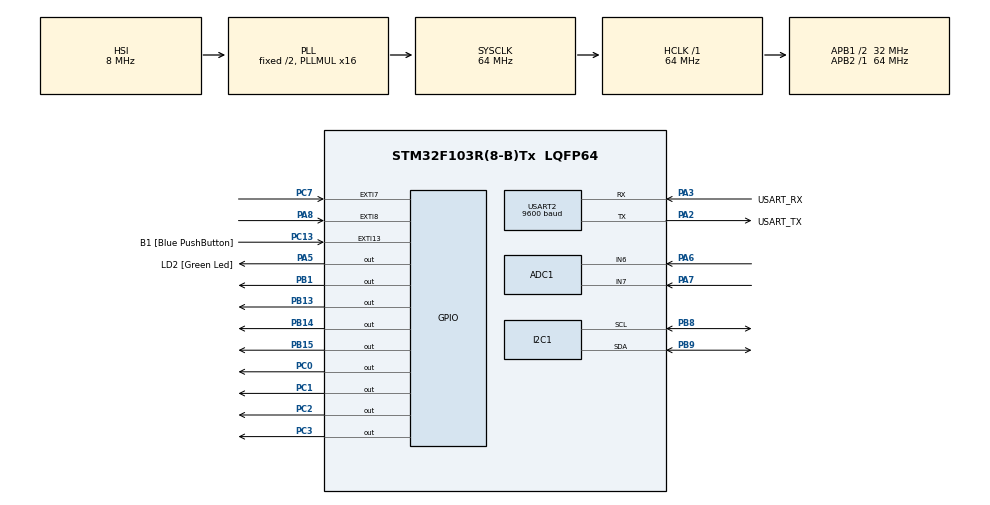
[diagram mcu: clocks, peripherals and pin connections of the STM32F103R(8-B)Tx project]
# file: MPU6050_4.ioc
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ADC1.Channel-0\#ChannelRegularConversion=ADC_CHANNEL_6
ADC1.Channel-1\#ChannelRegularConversion=ADC_CHANNEL_7
ADC1.ContinuousConvMode=ENABLE
ADC1.NbrOfConversion=2
ADC1.NbrOfConversionFlag=1
ADC1.Rank-0\#ChannelRegularConversion=1
ADC1.Rank-1\#ChannelRegularConversion=2
ADC1.SamplingTime-0\#ChannelRegularConversion=ADC_SAMPLETIME_28CYCLES_5
ADC1.SamplingTime-1\#ChannelRegularConversion=ADC_SAMPLETIME_28CYCLES_5
ADC1.master=1
Dma.ADC1.0.Direction=DMA_PERIPH_TO_MEMORY
Dma.ADC1.0.Instance=DMA1_Channel1
Dma.ADC1.0.MemDataAlignment=DMA_MDATAALIGN_WORD
Dma.ADC1.0.MemInc=DMA_MINC_ENABLE
Dma.ADC1.0.Mode=DMA_CIRCULAR
Dma.ADC1.0.PeriphDataAlignment=DMA_PDATAALIGN_WORD
Dma.ADC1.0.PeriphInc=DMA_PINC_DISABLE
Dma.ADC1.0.Priority=DMA_PRIORITY_LOW
Dma.Request0=ADC1
I2C1.I2C_Mode=I2C_Fast
Mcu.Family=STM32F1
Mcu.Name=STM32F103R(8-B)Tx
Mcu.Package=LQFP64
NVIC.ADC1_2_IRQn=true\:0\:0\:false\:false\:true\:true\:true\:true
NVIC.DMA1_Channel1_IRQn=true\:0\:0\:false\:false\:true\:false\:true\:true
NVIC.EXTI15_10_IRQn=true\:0\:0\:false\:false\:true\:true\:true\:true
NVIC.EXTI9_5_IRQn=true\:0\:0\:false\:false\:true\:true\:true\:true
NVIC.PriorityGroup=NVIC_PRIORITYGROUP_4
NVIC.TIM3_IRQn=true\:0\:0\:false\:false\:true\:true\:true\:true
PA13.GPIO_Label=TMS
PA13.Mode=Serial_Wire
PA13.Signal=SYS_JTMS-SWDIO
PA14.GPIO_Label=TCK
PA14.Mode=Serial_Wire
PA14.Signal=SYS_JTCK-SWCLK
PA2.GPIO_Label=USART_TX
PA2.GPIO_Mode=GPIO_MODE_AF_PP
PA2.GPIO_PuPd=GPIO_NOPULL
PA2.GPIO_Speed=GPIO_SPEED_FREQ_LOW
PA2.Mode=Asynchronous
PA2.Signal=USART2_TX
PA3.GPIO_Label=USART_RX
PA3.GPIO_Mode=GPIO_MODE_AF_PP
PA3.GPIO_PuPd=GPIO_NOPULL
PA3.GPIO_Speed=GPIO_SPEED_FREQ_LOW
PA3.Mode=Asynchronous
PA3.Signal=USART2_RX
PA5.GPIO_Label=LD2 [Green Led]
PA5.GPIO_ModeDefaultOutputPP=GPIO_MODE_OUTPUT_PP
PA5.GPIO_PuPd=GPIO_NOPULL
PA5.GPIO_Speed=GPIO_SPEED_FREQ_LOW
PA5.Signal=GPIO_Output
PA6.Signal=ADCx_IN6
PA7.Signal=ADCx_IN7
PA8.Signal=GPXTI8
PB1.Signal=GPIO_Output
PB13.Signal=GPIO_Output
PB14.Signal=GPIO_Output
PB15.Signal=GPIO_Output
PB3.GPIO_Label=SWO
PB3.Signal=SYS_JTDO-TRACESWO
PB8.Mode=I2C
PB8.Signal=I2C1_SCL
PB9.Mode=I2C
PB9.Signal=I2C1_SDA
PC0.Signal=GPIO_Output
PC1.Signal=GPIO_Output
PC13-TAMPER-RTC.GPIO_Label=B1 [Blue PushButton]
PC13-TAMPER-RTC.GPIO_ModeDefaultEXTI=GPIO_MODE_IT_RISING
PC13-TAMPER-RTC.GPIO_PuPd=GPIO_PULLUP
PC13-TAMPER-RTC.Signal=GPXTI13
PC14-OSC32_IN.Mode=LSE-External-Oscillator
PC14-OSC32_IN.Signal=RCC_OSC32_IN
PC15-OSC32_OUT.Mode=LSE-External-Oscillator
PC15-OSC32_OUT.Signal=RCC_OSC32_OUT
PC2.Signal=GPIO_Output
PC3.Signal=GPIO_Output
PC7.Signal=GPXTI7
PD0-OSC_IN.Mode=HSE-External-Clock-Source
PD0-OSC_IN.Signal=RCC_OSC_IN
PD1-OSC_OUT.Mode=HSE-External-Clock-Source
PD1-OSC_OUT.Signal=RCC_OSC_OUT
ProjectManager.HeapSize=0x200
ProjectManager.StackSize=0x400
ProjectManager.TargetToolchain=STM32CubeIDE
RCC.ADCPresc=RCC_ADCPCLK2_DIV8
RCC.AHBFreq_Value=64000000
RCC.APB1CLKDivider=RCC_HCLK_DIV2
RCC.APB1Freq_Value=32000000
RCC.APB1TimFreq_Value=64000000
RCC.APB2Freq_Value=64000000
RCC.APB2TimFreq_Value=64000000
RCC.HCLKFreq_Value=64000000
RCC.PLLMUL=RCC_PLL_MUL16
RCC.RTCClockSelection=RCC_RTCCLKSOURCE_LSE
RCC.SYSCLKFreq_VALUE=64000000
RCC.SYSCLKSource=RCC_SYSCLKSOURCE_PLLCLK
RCC.USBFreq_Value=64000000
SH.ADCx_IN6.0=ADC1_IN6,IN6
SH.ADCx_IN7.0=ADC1_IN7,IN7
TIM1.Period=65535-1
TIM1.Prescaler=63
TIM2.Prescaler=63999
TIM3.Period=10000-1
TIM3.Prescaler=64-1
USART2.BaudRate=9600
USART2.VirtualMode=VM_ASYNC
VP_TIM1_VS_ClockSourceINT.Mode=Internal
VP_TIM2_VS_ClockSourceINT.Mode=Internal
VP_TIM3_VS_ClockSourceINT.Mode=Internal
board=NUCLEO-F103RB

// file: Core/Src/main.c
/* USER CODE BEGIN Header */
/**
  ******************************************************************************
  * @file           : main.c
  * @brief          : Main program body
  ******************************************************************************
  * @attention
  *
  * Copyright (c) 2022 STMicroelectronics.
  * All rights reserved.
  *
  * This software is licensed under terms that can be found in the LICENSE file
  * in the root directory of this software component.
  * If no LICENSE file comes with this software, it is provided AS-IS.
  *
  ******************************************************************************
  */
/* USER CODE END Header */
#include "main.h"

/* USER CODE BEGIN Includes */
#include "stdio.h"
#include "Kalman.h"
#include "math.h"
#include "i2c-lcd.h"
/* USER CODE END Includes */

 ADC_HandleTypeDef hadc1;
DMA_HandleTypeDef hdma_adc1;

I2C_HandleTypeDef hi2c1;

TIM_HandleTypeDef htim1;
TIM_HandleTypeDef htim2;
TIM_HandleTypeDef htim3;

UART_HandleTypeDef huart2;

void SystemClock_Config(void);
static void MX_GPIO_Init(void);
static void MX_USART2_UART_Init(void);
static void MX_DMA_Init(void);
static void MX_ADC1_Init(void);
static void MX_I2C1_Init(void);
static void MX_TIM3_Init(void);
static void MX_TIM1_Init(void);
static void MX_TIM2_Init(void);
/* USER CODE BEGIN PFP */

#ifdef __GNUC__
#define PUTCHAR_PROTOTYPE int __io_putchar(int ch)
#else
#define PUTCHAR_PROTOTYPE int fputc(int ch, FILE *f)
#endif
PUTCHAR_PROTOTYPE
{
  HAL_UART_Transmit(&huart2, (uint8_t *)&ch, 1, 0xFFFF);
  return ch;
}

/* USER CODE END PFP */

/* USER CODE BEGIN 0 */
//=====================================================================================================================
//MPU6050 register value
#define MPU6050_ADDR 0xD0
#define SMPLRT_DIV_REG 0x19
#define GYRO_CONFIG_REG 0x1B
#define ACCEL_CONFIG_REG 0x1C
#define ACCEL_XOUT_H_REG 0x3B
#define TEMP_OUT_H_REG 0x41
#define GYRO_XOUT_H_REG 0x43
#define PWR_MGMT_1_REG 0x6B
#define WHO_AM_I_REG 0x75

#define RA_XA_OFFS_H        0x06 //[15:0] XA_OFFS
#define RA_XA_OFFS_L_TC     0x07
#define RA_YA_OFFS_H        0x08 //[15:0] YA_OFFS
#define RA_YA_OFFS_L_TC     0x09
#define RA_ZA_OFFS_H        0x0A //[15:0] ZA_OFFS
#define RA_ZA_OFFS_L_TC     0x0B
#define RA_XG_OFFS_USRH     0x13 //[15:0] XG_OFFS_USR
#define RA_XG_OFFS_USRL     0x14
#define RA_YG_OFFS_USRH     0x15 //[15:0] YG_OFFS_USR
#define RA_YG_OFFS_USRL     0x16
#define RA_ZG_OFFS_USRH     0x17 //[15:0] ZG_OFFS_USR
#define RA_ZG_OFFS_USRL     0x18
//=====================================================================================================================
//kalman Filter variable

#define RAD_TO_DEG 57.295779513082320876798154814105
#define DEG_TO_RAD 0.01745329251994329576923690768489
#define RESTRICT_PITCH

struct Kalman kalmanX, kalmanY, kalmanZ;
int accX, accY, accZ;
int gyroX, gyroY, gyroZ;
int magX, magY, magZ;
double roll, pitch, yaw;
double gyroXangle, gyroYangle, gyroZangle;
double compAngleX, compAngleY, compAngleZ;
double kalAngleX, kalAngleY, kalAngleZ;

void MPU6050_Init (void);
void updateMPU6050();
void  func(void);
void  updatePitchRoll(void);
void  updateYaw(void);
void  InitAll(void);
//=====================================================================================================================
//Time variable
uint32_t t_prev, t_now, time_count;
double t_period,t_dt;
int duration = 300;
int pre_time = 0, cur_time;

int read_us();
void init_time( );
void calc_time();
//=====================================================================================================================
//Step motor variable
#define StepPerRev 4096

uint32_t value[2];
int8_t cur_pitch_angle = 0;
int8_t pre_pitch_angle = 0;
int8_t cur_roll_angle = 0;
int8_t pre_roll_angle = 0;
int state = 0;

uint8_t step_count_pitch_L = 0;
uint8_t step_count_pitch_H = 0;
uint8_t step_count_roll_L = 0;
uint8_t step_count_roll_H = 0;

void stepper_step_angle (double angle, int direction,int rpm,GPIO_TypeDef  *GPIOx, uint16_t num1, uint16_t num2, uint16_t num3, uint16_t num4);
void stepper_half_drive(int step,GPIO_TypeDef  *GPIOx, uint16_t num1, uint16_t num2, uint16_t num3, uint16_t num4);
void delay(uint16_t us);
void Stepper_set_rpm(int rpm);
//=====================================================================================================================
// LCD
char joy_roll_value [30];
char joy_pitch_value [30];
char gyro_roll_value [30];
char gyro_pitch_value [30];
//=====================================================================================================================
//Get Gyro,Accel value

 void MPU6050_Init (void)
{
	uint8_t check;
	uint8_t Data;
	uint8_t offset;

	// check device ID WHO_AM_I

	HAL_I2C_Mem_Read (&hi2c1, MPU6050_ADDR,WHO_AM_I_REG,1, &check, 1, 1000);

	if (check == 104)  // 0x68 will be returned by the sensor if everything goes well
	{

		printf(" Connect Success\n ");
		// power management register 0X6B we should write all 0's to wake the sensor up
		Data = 0;
		HAL_I2C_Mem_Write(&hi2c1, MPU6050_ADDR, PWR_MGMT_1_REG, 1,&Data, 1, 1000);

		// Set DATA RATE of 1KHz by writing SMPLRT_DIV register
		Data = 0x07;
		HAL_I2C_Mem_Write(&hi2c1, MPU6050_ADDR, SMPLRT_DIV_REG, 1, &Data, 1, 1000);

		// Set accelerometer configuration in ACCEL_CONFIG Register
		// XA_ST=0,YA_ST=0,ZA_ST=0, FS_SEL=0 -> �????????????????????????? 2g
		Data = 0x00;
		HAL_I2C_Mem_Write(&hi2c1, MPU6050_ADDR, ACCEL_CONFIG_REG, 1, &Data, 1, 1000);

		// Set Gyroscopic configuration in GYRO_CONFIG Register
		// XG_ST=0,YG_ST=0,ZG_ST=0, FS_SEL=0 -> �????????????????????????? 250 �?????????????????????????/s
		Data = 0x00;
		HAL_I2C_Mem_Write(&hi2c1, MPU6050_ADDR, GYRO_CONFIG_REG, 1 , &Data, 1, 1000);

		offset = 0x02;
		HAL_I2C_Mem_Write(&hi2c1, MPU6050_ADDR, RA_XA_OFFS_H, 1, &offset, 1, 1000);
		offset = 0x32;
		HAL_I2C_Mem_Write(&hi2c1, MPU6050_ADDR, RA_XA_OFFS_L_TC, 1, &offset, 1, 1000);

		offset = 0XFB;
		HAL_I2C_Mem_Write(&hi2c1, MPU6050_ADDR, RA_YA_OFFS_H, 1, &offset, 1, 1000);
		offset = 0xC8;
		HAL_I2C_Mem_Write(&hi2c1, MPU6050_ADDR, RA_YA_OFFS_L_TC, 1, &offset, 1, 1000);

		offset = 0x08;
		HAL_I2C_Mem_Write(&hi2c1, MPU6050_ADDR, RA_ZA_OFFS_H, 1, &offset, 1, 1000);
		offset = 0xA1;
		HAL_I2C_Mem_Write(&hi2c1, MPU6050_ADDR, RA_ZA_OFFS_L_TC, 1, &offset, 1, 1000);

		offset = 0xFF;
		HAL_I2C_Mem_Write(&hi2c1, MPU6050_ADDR, RA_XG_OFFS_USRH, 1, &offset, 1, 1000);
		offset = 0x6B;
		HAL_I2C_Mem_Write(&hi2c1, MPU6050_ADDR, RA_XG_OFFS_USRL, 1, &offset, 1, 1000);

		offset = 0x01;
		HAL_I2C_Mem_Write(&hi2c1, MPU6050_ADDR, RA_YG_OFFS_USRH, 1, &offset, 1, 1000);
		offset = 0x19;
		HAL_I2C_Mem_Write(&hi2c1, MPU6050_ADDR, RA_YG_OFFS_USRL, 1, &offset, 1, 1000);

		offset = 0xFF;
		HAL_I2C_Mem_Write(&hi2c1, MPU6050_ADDR, RA_ZG_OFFS_USRH, 1, &offset, 1, 1000);
		offset = 0x00;
		HAL_I2C_Mem_Write(&hi2c1, MPU6050_ADDR, RA_ZG_OFFS_USRL, 1, &offset, 1, 1000);

	}else
	printf(" Connect Fail\n ");

}

 void InitAll()
 {
     /* Set Kalman and gyro starting angle */
     updateMPU6050();
     updatePitchRoll();

     setAngle(&kalmanX,roll); // First set roll starting angle
     gyroXangle = roll;
     compAngleX = roll;

     setAngle(&kalmanY,pitch); // Then pitch
     gyroYangle = pitch;
     compAngleY = pitch;

     setAngle(&kalmanZ,yaw); // And finally yaw
     gyroZangle = yaw;
     compAngleZ = yaw;

 }

void updateMPU6050()
 {
	uint8_t Rec_Data1[6];
	uint8_t Rec_Data2[6];

	HAL_I2C_Mem_Read (&hi2c1, MPU6050_ADDR, GYRO_XOUT_H_REG, 1, Rec_Data1, 6, 1000);

	gyroX = -(int16_t)(Rec_Data1[0] << 8 | Rec_Data1 [1]);
	gyroY = (int16_t)(Rec_Data1[2] << 8 | Rec_Data1 [3]);
	gyroZ = -(int16_t)(Rec_Data1[4] << 8 | Rec_Data1 [5]);

	HAL_I2C_Mem_Read (&hi2c1, MPU6050_ADDR, ACCEL_XOUT_H_REG, 1, Rec_Data2, 6, 1000);

	accX = (int16_t)(Rec_Data2[0] << 8 | Rec_Data2 [1]);
	accY = -(int16_t)(Rec_Data2[2] << 8 | Rec_Data2 [3]);
	accZ = (int16_t)(Rec_Data2[4] << 8 | Rec_Data2 [5]);

 }

void updatePitchRoll()
{

    #ifdef RESTRICT_PITCH
    roll = atan(accY/sqrt(accX*accX+accZ*accZ)) * RAD_TO_DEG;
    pitch = atan(-accX / sqrt(accY * accY + accZ * accZ)) * RAD_TO_DEG;

    #else // Eq. 28 and 29
    roll = atan(accY / sqrt(accX * accX + accZ * accZ)) * RAD_TO_DEG;
    pitch = atan2(-accX, accZ) * RAD_TO_DEG;
    #endif
}
//=====================================================================================================================
//Step motor
void Stepper_set_rpm(int rpm)
{
	delay(60000000/StepPerRev/rpm);
}

void stepper_half_drive(int step, GPIO_TypeDef  *GPIOx, uint16_t num1, uint16_t num2, uint16_t num3, uint16_t num4)
{
	switch(step){
	case 0:
		HAL_GPIO_WritePin(GPIOx, num1, GPIO_PIN_SET);      //IN1
		HAL_GPIO_WritePin(GPIOx, num2, GPIO_PIN_RESET);    //IN2
		HAL_GPIO_WritePin(GPIOx, num3, GPIO_PIN_RESET);    //IN3
		HAL_GPIO_WritePin(GPIOx, num4, GPIO_PIN_RESET);    //IN4
		break;
	case 1:
		HAL_GPIO_WritePin(GPIOx, num1, GPIO_PIN_SET);      //IN1
		HAL_GPIO_WritePin(GPIOx, num2, GPIO_PIN_SET);      //IN2
		HAL_GPIO_WritePin(GPIOx, num3, GPIO_PIN_RESET);    //IN3
		HAL_GPIO_WritePin(GPIOx, num4, GPIO_PIN_RESET);    //IN4
		break;
	case 2:
		HAL_GPIO_WritePin(GPIOx, num1, GPIO_PIN_RESET);    //IN1
		HAL_GPIO_WritePin(GPIOx, num2, GPIO_PIN_SET);      //IN2
		HAL_GPIO_WritePin(GPIOx, num3, GPIO_PIN_RESET);    //IN3
		HAL_GPIO_WritePin(GPIOx, num4, GPIO_PIN_RESET);    //IN4
		break;
	case 3:
		HAL_GPIO_WritePin(GPIOx, num1, GPIO_PIN_RESET);    //IN1
		HAL_GPIO_WritePin(GPIOx, num2, GPIO_PIN_SET);      //IN2
		HAL_GPIO_WritePin(GPIOx, num3, GPIO_PIN_SET);      //IN3
		HAL_GPIO_WritePin(GPIOx, num4, GPIO_PIN_RESET);    //IN4
		break;
	case 4:
		HAL_GPIO_WritePin(GPIOx, num1, GPIO_PIN_RESET);    //IN1
		HAL_GPIO_WritePin(GPIOx, num2, GPIO_PIN_RESET);    //IN2
		HAL_GPIO_WritePin(GPIOx, num3, GPIO_PIN_SET);      //IN3
		HAL_GPIO_WritePin(GPIOx, num4, GPIO_PIN_RESET);    //IN4
		break;
	case 5:
		HAL_GPIO_WritePin(GPIOx, num1, GPIO_PIN_RESET);    //IN1
		HAL_GPIO_WritePin(GPIOx, num2, GPIO_PIN_RESET);    //IN2
		HAL_GPIO_WritePin(GPIOx, num3, GPIO_PIN_SET);      //IN3
		HAL_GPIO_WritePin(GPIOx, num4, GPIO_PIN_SET);      //IN4
		break;
	case 6:
		HAL_GPIO_WritePin(GPIOx, num1, GPIO_PIN_RESET);    //IN1
		HAL_GPIO_WritePin(GPIOx, num2, GPIO_PIN_RESET);    //IN2
		HAL_GPIO_WritePin(GPIOx, num3, GPIO_PIN_RESET);    //IN3
		HAL_GPIO_WritePin(GPIOx, num4, GPIO_PIN_SET);      //IN4
		break;
	case 7:
		HAL_GPIO_WritePin(GPIOx, num1, GPIO_PIN_SET);      //IN1
		HAL_GPIO_WritePin(GPIOx, num2, GPIO_PIN_RESET);    //IN2
		HAL_GPIO_WritePin(GPIOx, num3, GPIO_PIN_RESET);    //IN3
		HAL_GPIO_WritePin(GPIOx, num4, GPIO_PIN_SET);      //IN4
		break;
	}
}

void stepper_step_angle (double angle, int direction,int rpm, GPIO_TypeDef  *GPIOx, uint16_t num1, uint16_t num2, uint16_t num3, uint16_t num4)
{
	float anglepersequence = 0.703125;
	int numberofsequences = (int) (angle/anglepersequence);

	for(int seq = 0;seq<numberofsequences;seq++)
	{
		if(direction == 0)
		{
			for(int step = 7;step>=0;step--)
			{
				stepper_half_drive(step,GPIOx, num1, num2, num3, num4);
				Stepper_set_rpm(rpm);
			}
		}
		else if(direction == 1)
		{
			for(int step = 0;step<8;step++)
			{
				stepper_half_drive(step,GPIOx, num1, num2, num3, num4);
				Stepper_set_rpm(rpm);
			}
		}
	}
}

//=====================================================================================================================
// Time
int read_us()
{
	int cur_time = (time_count*10000) + __HAL_TIM_GET_COUNTER(&htim3);
	__HAL_TIM_SET_COUNTER(&htim3,0);

	return cur_time;
}
void init_time( ) {

	HAL_TIM_Base_Start_IT(&htim3);
    t_prev = read_us();
}
void calc_time() 						// Kalman calc
{
	t_now = read_us();
	t_period = (t_now - t_prev)/1000000.0;
	t_prev = t_now;
	t_dt = t_period;
}
void delay(uint16_t us)						// Stepmotor RPM calc
{
	__HAL_TIM_SET_COUNTER(&htim1, 0);
	while(__HAL_TIM_GET_COUNTER(&htim1)<us);
}
//=====================================================================================================================
/* USER CODE END 0 */

int main(void)
{
  /* USER CODE BEGIN 1 */
//	char buf[4];
  /* USER CODE END 1 */

  /* MCU Configuration--------------------------------------------------------*/

  /* Reset of all peripherals, Initializes the Flash interface and the Systick. */
  HAL_Init();

  /* Configure the system clock */
  SystemClock_Config();

  /* Initialize all configured peripherals */
  MX_GPIO_Init();
  MX_USART2_UART_Init();
  MX_DMA_Init();
  MX_ADC1_Init();
  MX_I2C1_Init();
  MX_TIM3_Init();
  MX_TIM1_Init();
  MX_TIM2_Init();
  /* USER CODE BEGIN 2 */
  HAL_ADC_Start_DMA(&hadc1, value, 2);
  HAL_TIM_Base_Start(&htim1);
  HAL_TIM_Base_Start(&htim2);
  MPU6050_Init();
  lcd_init();
  InitAll();
  init_time();
  Init(&kalmanX);
  Init(&kalmanY);
  Init(&kalmanZ);
  HAL_Delay(1000);
  /* USER CODE END 2 */

  /* Infinite loop */
  /* USER CODE BEGIN WHILE */
  while (1)
  {

	  func();
	  printf("kalAngleX : %.2lf    kalAngleY : %.2lf\n", kalAngleX,roll);
//==================================================================================================================
// gyro mode - step control
	  if( state == 1)
	  {
		  //Gyro step motor control
		  pre_pitch_angle = cur_pitch_angle;
		  pre_roll_angle = cur_roll_angle;
		  cur_pitch_angle = kalAngleX;
		  cur_roll_angle = kalAngleY;
		  if(cur_pitch_angle > pre_pitch_angle || cur_roll_angle > pre_roll_angle)
		  {
			stepper_step_angle(cur_pitch_angle - pre_pitch_angle , 1,13, GPIOC, GPIO_PIN_0, GPIO_PIN_1, GPIO_PIN_2, GPIO_PIN_3);
			stepper_step_angle(cur_roll_angle - pre_roll_angle , 1,13, GPIOB, GPIO_PIN_13, GPIO_PIN_14, GPIO_PIN_15,GPIO_PIN_1);

		  }
		  if(cur_pitch_angle < pre_pitch_angle || cur_roll_angle < pre_roll_angle)
		  {
			stepper_step_angle(pre_pitch_angle - cur_pitch_angle, 0, 13, GPIOC, GPIO_PIN_0, GPIO_PIN_1, GPIO_PIN_2, GPIO_PIN_3);
			stepper_step_angle(pre_roll_angle - cur_roll_angle, 0,13, GPIOB, GPIO_PIN_13, GPIO_PIN_14, GPIO_PIN_15, GPIO_PIN_1);

		  }

//		  printf("kalAngleX : %.2lf    kalAngleY : %.2lf\n", kalAngleX,kalAngleY);
//=====================================================================================================================
// gyro mode - LCD
		  lcd_clear();
		  lcd_put_cur(0, 0);
		  lcd_send_string("Gyro mode");
		  lcd_put_cur(1, 0);
		  sprintf(gyro_roll_value,"r=%.1lf", kalAngleX);
		  lcd_send_string(gyro_roll_value);
		  lcd_put_cur(1, 9);
		  sprintf(gyro_pitch_value,"p=%.1lf", kalAngleY);
		  lcd_send_string(gyro_pitch_value);
	  }
//=====================================================================================================================
// joystick mode - step control
	  else if(state == 0)
	  {
		  //Joystic step motor control
		  while(value[1] == 4095)
		  {
			  if(step_count_roll_L > 0)
			  {
				  stepper_step_angle(1, 1, 13, GPIOC, GPIO_PIN_0, GPIO_PIN_1, GPIO_PIN_2, GPIO_PIN_3);
				  step_count_roll_L--;
			  }
			  else if (step_count_roll_H < 90 )
			  {
				  step_count_roll_H++;
				  stepper_step_angle(1, 1, 13, GPIOC, GPIO_PIN_0, GPIO_PIN_1, GPIO_PIN_2, GPIO_PIN_3);
			  }
		  }
		  while(value[1] < 1000)
		  {
			  if(step_count_roll_H > 0)
			  {
				  stepper_step_angle(1, 0, 13, GPIOC, GPIO_PIN_0, GPIO_PIN_1, GPIO_PIN_2, GPIO_PIN_3);
				  step_count_roll_H--;
			  }
			  else if(step_count_roll_L < 90 ){
				  step_count_roll_L++ ;
				  stepper_step_angle(1, 0, 13, GPIOC, GPIO_PIN_0, GPIO_PIN_1, GPIO_PIN_2, GPIO_PIN_3);
			  }
		  }

		  while(value[0] == 4095)
		  {
				if(step_count_pitch_L > 0)
				{
					stepper_step_angle(1, 1,13, GPIOB, GPIO_PIN_13, GPIO_PIN_14, GPIO_PIN_15, GPIO_PIN_1);
					step_count_pitch_L--;
				}
				else if (step_count_pitch_H < 90 )
				{

					step_count_pitch_H++ ;
					stepper_step_angle(1, 1,13, GPIOB, GPIO_PIN_13, GPIO_PIN_14, GPIO_PIN_15, GPIO_PIN_1);
				}
		  }
		  while(value[0] < 1000)
		  {
				if(step_count_pitch_H > 0)
				{
					stepper_step_angle(1, 0,13, GPIOB, GPIO_PIN_13, GPIO_PIN_14, GPIO_PIN_15, GPIO_PIN_1);
					step_count_pitch_H--;
				}
				else if (step_count_pitch_L < 90 )
				{

					step_count_pitch_L++ ;
					stepper_step_angle(1, 0,13, GPIOB, GPIO_PIN_13, GPIO_PIN_14, GPIO_PIN_15, GPIO_PIN_1);

				}
		  }
//=============================================================================================
// joystick - LCD
		  lcd_clear();
		  lcd_put_cur(0, 0);
		  lcd_send_string("Joystick mode");
		  if(step_count_pitch_H == 0)
		  {
			  sprintf(joy_pitch_value,"p:-%d", step_count_pitch_L);
		  }
		  else if(step_count_pitch_L == 0)
		  {
			  sprintf(joy_pitch_value,"p:+%d", step_count_pitch_H);
		  }
		  lcd_put_cur(1, 0);
		  lcd_send_string(joy_pitch_value);

		  if(step_count_roll_H == 0)
		  {
			  sprintf(joy_roll_value,"r :-%d", step_count_roll_L);
		  }
		  else if(step_count_roll_L == 0)
		  {
			  sprintf(joy_roll_value,"r :+%d", step_count_roll_H);
		  }
		  lcd_put_cur(1, 9);
		  lcd_send_string(joy_roll_value);

	  }

//=============================================================================================
    /* USER CODE END WHILE */

  }
}

void SystemClock_Config(void)
{
  RCC_OscInitTypeDef RCC_OscInitStruct = {0};
  RCC_ClkInitTypeDef RCC_ClkInitStruct = {0};
  RCC_PeriphCLKInitTypeDef PeriphClkInit = {0};

  /** Initializes the RCC Oscillators according to the specified parameters
  * in the RCC_OscInitTypeDef structure.
  */
  RCC_OscInitStruct.OscillatorType = RCC_OSCILLATORTYPE_HSI;
  RCC_OscInitStruct.HSIState = RCC_HSI_ON;
  RCC_OscInitStruct.HSICalibrationValue = RCC_HSICALIBRATION_DEFAULT;
  RCC_OscInitStruct.PLL.PLLState = RCC_PLL_ON;
  RCC_OscInitStruct.PLL.PLLSource = RCC_PLLSOURCE_HSI_DIV2;
  RCC_OscInitStruct.PLL.PLLMUL = RCC_PLL_MUL16;
  if (HAL_RCC_OscConfig(&RCC_OscInitStruct) != HAL_OK)
  {
    Error_Handler();
  }

  /** Initializes the CPU, AHB and APB buses clocks
  */
  RCC_ClkInitStruct.ClockType = RCC_CLOCKTYPE_HCLK|RCC_CLOCKTYPE_SYSCLK
                              |RCC_CLOCKTYPE_PCLK1|RCC_CLOCKTYPE_PCLK2;
  RCC_ClkInitStruct.SYSCLKSource = RCC_SYSCLKSOURCE_PLLCLK;
  RCC_ClkInitStruct.AHBCLKDivider = RCC_SYSCLK_DIV1;
  RCC_ClkInitStruct.APB1CLKDivider = RCC_HCLK_DIV2;
  RCC_ClkInitStruct.APB2CLKDivider = RCC_HCLK_DIV1;

  if (HAL_RCC_ClockConfig(&RCC_ClkInitStruct, FLASH_LATENCY_2) != HAL_OK)
  {
    Error_Handler();
  }
  PeriphClkInit.PeriphClockSelection = RCC_PERIPHCLK_ADC;
  PeriphClkInit.AdcClockSelection = RCC_ADCPCLK2_DIV8;
  if (HAL_RCCEx_PeriphCLKConfig(&PeriphClkInit) != HAL_OK)
  {
    Error_Handler();
  }
}

static void MX_ADC1_Init(void)
{

  ADC_ChannelConfTypeDef sConfig = {0};

  /** Common config
  */
  hadc1.Instance = ADC1;
  hadc1.Init.ScanConvMode = ADC_SCAN_ENABLE;
  hadc1.Init.ContinuousConvMode = ENABLE;
  hadc1.Init.DiscontinuousConvMode = DISABLE;
  hadc1.Init.ExternalTrigConv = ADC_SOFTWARE_START;
  hadc1.Init.DataAlign = ADC_DATAALIGN_RIGHT;
  hadc1.Init.NbrOfConversion = 2;
  if (HAL_ADC_Init(&hadc1) != HAL_OK)
  {
    Error_Handler();
  }

  /** Configure Regular Channel
  */
  sConfig.Channel = ADC_CHANNEL_6;
  sConfig.Rank = ADC_REGULAR_RANK_1;
  sConfig.SamplingTime = ADC_SAMPLETIME_28CYCLES_5;
  if (HAL_ADC_ConfigChannel(&hadc1, &sConfig) != HAL_OK)
  {
    Error_Handler();
  }

  /** Configure Regular Channel
  */
  sConfig.Channel = ADC_CHANNEL_7;
  sConfig.Rank = ADC_REGULAR_RANK_2;
  if (HAL_ADC_ConfigChannel(&hadc1, &sConfig) != HAL_OK)
  {
    Error_Handler();
  }

}

static void MX_I2C1_Init(void)
{

  hi2c1.Instance = I2C1;
  hi2c1.Init.ClockSpeed = 400000;
  hi2c1.Init.DutyCycle = I2C_DUTYCYCLE_2;
  hi2c1.Init.OwnAddress1 = 0;
  hi2c1.Init.AddressingMode = I2C_ADDRESSINGMODE_7BIT;
  hi2c1.Init.DualAddressMode = I2C_DUALADDRESS_DISABLE;
  hi2c1.Init.OwnAddress2 = 0;
  hi2c1.Init.GeneralCallMode = I2C_GENERALCALL_DISABLE;
  hi2c1.Init.NoStretchMode = I2C_NOSTRETCH_DISABLE;
  if (HAL_I2C_Init(&hi2c1) != HAL_OK)
  {
    Error_Handler();
  }

}

static void MX_TIM1_Init(void)
{

  TIM_ClockConfigTypeDef sClockSourceConfig = {0};
  TIM_MasterConfigTypeDef sMasterConfig = {0};

  htim1.Instance = TIM1;
  htim1.Init.Prescaler = 63;
  htim1.Init.CounterMode = TIM_COUNTERMODE_UP;
  htim1.Init.Period = 65535-1;
  htim1.Init.ClockDivision = TIM_CLOCKDIVISION_DIV1;
  htim1.Init.RepetitionCounter = 0;
  htim1.Init.AutoReloadPreload = TIM_AUTORELOAD_PRELOAD_DISABLE;
  if (HAL_TIM_Base_Init(&htim1) != HAL_OK)
  {
    Error_Handler();
  }
  sClockSourceConfig.ClockSource = TIM_CLOCKSOURCE_INTERNAL;
  if (HAL_TIM_ConfigClockSource(&htim1, &sClockSourceConfig) != HAL_OK)
  {
    Error_Handler();
  }
  sMasterConfig.MasterOutputTrigger = TIM_TRGO_RESET;
  sMasterConfig.MasterSlaveMode = TIM_MASTERSLAVEMODE_DISABLE;
  if (HAL_TIMEx_MasterConfigSynchronization(&htim1, &sMasterConfig) != HAL_OK)
  {
    Error_Handler();
  }

}

static void MX_TIM2_Init(void)
{

  TIM_ClockConfigTypeDef sClockSourceConfig = {0};
  TIM_MasterConfigTypeDef sMasterConfig = {0};

  htim2.Instance = TIM2;
  htim2.Init.Prescaler = 63999;
  htim2.Init.CounterMode = TIM_COUNTERMODE_UP;
  htim2.Init.Period = 65535;
  htim2.Init.ClockDivision = TIM_CLOCKDIVISION_DIV1;
  htim2.Init.AutoReloadPreload = TIM_AUTORELOAD_PRELOAD_DISABLE;
  if (HAL_TIM_Base_Init(&htim2) != HAL_OK)
  {
    Error_Handler();
  }
  sClockSourceConfig.ClockSource = TIM_CLOCKSOURCE_INTERNAL;
  if (HAL_TIM_ConfigClockSource(&htim2, &sClockSourceConfig) != HAL_OK)
  {
    Error_Handler();
  }
  sMasterConfig.MasterOutputTrigger = TIM_TRGO_RESET;
  sMasterConfig.MasterSlaveMode = TIM_MASTERSLAVEMODE_DISABLE;
  if (HAL_TIMEx_MasterConfigSynchronization(&htim2, &sMasterConfig) != HAL_OK)
  {
    Error_Handler();
  }

}

static void MX_TIM3_Init(void)
{

  TIM_ClockConfigTypeDef sClockSourceConfig = {0};
  TIM_MasterConfigTypeDef sMasterConfig = {0};

  htim3.Instance = TIM3;
  htim3.Init.Prescaler = 64-1;
  htim3.Init.CounterMode = TIM_COUNTERMODE_UP;
  htim3.Init.Period = 10000-1;
  htim3.Init.ClockDivision = TIM_CLOCKDIVISION_DIV1;
  htim3.Init.AutoReloadPreload = TIM_AUTORELOAD_PRELOAD_DISABLE;
  if (HAL_TIM_Base_Init(&htim3) != HAL_OK)
  {
    Error_Handler();
  }
  sClockSourceConfig.ClockSource = TIM_CLOCKSOURCE_INTERNAL;
  if (HAL_TIM_ConfigClockSource(&htim3, &sClockSourceConfig) != HAL_OK)
  {
    Error_Handler();
  }
  sMasterConfig.MasterOutputTrigger = TIM_TRGO_RESET;
  sMasterConfig.MasterSlaveMode = TIM_MASTERSLAVEMODE_DISABLE;
  if (HAL_TIMEx_MasterConfigSynchronization(&htim3, &sMasterConfig) != HAL_OK)
  {
    Error_Handler();
  }

}

static void MX_USART2_UART_Init(void)
{

  huart2.Instance = USART2;
  huart2.Init.BaudRate = 9600;
  huart2.Init.WordLength = UART_WORDLENGTH_8B;
  huart2.Init.StopBits = UART_STOPBITS_1;
  huart2.Init.Parity = UART_PARITY_NONE;
  huart2.Init.Mode = UART_MODE_TX_RX;
  huart2.Init.HwFlowCtl = UART_HWCONTROL_NONE;
  huart2.Init.OverSampling = UART_OVERSAMPLING_16;
  if (HAL_UART_Init(&huart2) != HAL_OK)
  {
    Error_Handler();
  }

}

static void MX_DMA_Init(void)
{

  /* DMA controller clock enable */
  __HAL_RCC_DMA1_CLK_ENABLE();

  /* DMA interrupt init */
  /* DMA1_Channel1_IRQn interrupt configuration */
  HAL_NVIC_SetPriority(DMA1_Channel1_IRQn, 0, 0);
  HAL_NVIC_EnableIRQ(DMA1_Channel1_IRQn);

}

static void MX_GPIO_Init(void)
{
  GPIO_InitTypeDef GPIO_InitStruct = {0};

  /* GPIO Ports Clock Enable */
  __HAL_RCC_GPIOC_CLK_ENABLE();
  __HAL_RCC_GPIOD_CLK_ENABLE();
  __HAL_RCC_GPIOA_CLK_ENABLE();
  __HAL_RCC_GPIOB_CLK_ENABLE();

  /*Configure GPIO pin Output Level */
  HAL_GPIO_WritePin(GPIOC, GPIO_PIN_0|GPIO_PIN_1|GPIO_PIN_2|GPIO_PIN_3, GPIO_PIN_RESET);

  /*Configure GPIO pin Output Level */
  HAL_GPIO_WritePin(LD2_GPIO_Port, LD2_Pin, GPIO_PIN_RESET);

  /*Configure GPIO pin Output Level */
  HAL_GPIO_WritePin(GPIOB, GPIO_PIN_1|GPIO_PIN_13|GPIO_PIN_14|GPIO_PIN_15, GPIO_PIN_RESET);

  /*Configure GPIO pin : B1_Pin */
  GPIO_InitStruct.Pin = B1_Pin;
  GPIO_InitStruct.Mode = GPIO_MODE_IT_RISING;
  GPIO_InitStruct.Pull = GPIO_PULLUP;
  HAL_GPIO_Init(B1_GPIO_Port, &GPIO_InitStruct);

  /*Configure GPIO pins : PC0 PC1 PC2 PC3 */
  GPIO_InitStruct.Pin = GPIO_PIN_0|GPIO_PIN_1|GPIO_PIN_2|GPIO_PIN_3;
  GPIO_InitStruct.Mode = GPIO_MODE_OUTPUT_PP;
  GPIO_InitStruct.Pull = GPIO_NOPULL;
  GPIO_InitStruct.Speed = GPIO_SPEED_FREQ_LOW;
  HAL_GPIO_Init(GPIOC, &GPIO_InitStruct);

  /*Configure GPIO pin : LD2_Pin */
  GPIO_InitStruct.Pin = LD2_Pin;
  GPIO_InitStruct.Mode = GPIO_MODE_OUTPUT_PP;
  GPIO_InitStruct.Pull = GPIO_NOPULL;
  GPIO_InitStruct.Speed = GPIO_SPEED_FREQ_LOW;
  HAL_GPIO_Init(LD2_GPIO_Port, &GPIO_InitStruct);

  /*Configure GPIO pins : PB1 PB13 PB14 PB15 */
  GPIO_InitStruct.Pin = GPIO_PIN_1|GPIO_PIN_13|GPIO_PIN_14|GPIO_PIN_15;
  GPIO_InitStruct.Mode = GPIO_MODE_OUTPUT_PP;
  GPIO_InitStruct.Pull = GPIO_NOPULL;
  GPIO_InitStruct.Speed = GPIO_SPEED_FREQ_LOW;
  HAL_GPIO_Init(GPIOB, &GPIO_InitStruct);

  /*Configure GPIO pin : PC7 */
  GPIO_InitStruct.Pin = GPIO_PIN_7;
  GPIO_InitStruct.Mode = GPIO_MODE_IT_RISING;
  GPIO_InitStruct.Pull = GPIO_NOPULL;
  HAL_GPIO_Init(GPIOC, &GPIO_InitStruct);

  /*Configure GPIO pin : PA8 */
  GPIO_InitStruct.Pin = GPIO_PIN_8;
  GPIO_InitStruct.Mode = GPIO_MODE_IT_RISING;
  GPIO_InitStruct.Pull = GPIO_NOPULL;
  HAL_GPIO_Init(GPIOA, &GPIO_InitStruct);

  /* EXTI interrupt init*/
  HAL_NVIC_SetPriority(EXTI9_5_IRQn, 0, 0);
  HAL_NVIC_EnableIRQ(EXTI9_5_IRQn);

  HAL_NVIC_SetPriority(EXTI15_10_IRQn, 0, 0);
  HAL_NVIC_EnableIRQ(EXTI15_10_IRQn);

}

/* USER CODE BEGIN 4 */
//=====================================================================================================================
// Get kalman value
void func()
{
    double gyroXrate,gyroYrate,dt;
    /* Update all the IMU values */
    updateMPU6050();

    dt = 0.03;

    /* Roll and pitch estimation */
    updatePitchRoll();
    gyroXrate = gyroX / 131.0;
    gyroYrate = gyroY / 131.0;

    #ifdef RESTRICT_PITCH

    if ((roll < -90 && kalAngleX > 90) || (roll > 90 && kalAngleX < -90)) {
        setAngle(&kalmanX,roll);
        compAngleX = roll;
        kalAngleX = roll;
        gyroXangle = roll;
    } else
    kalAngleX = getAngle(&kalmanX, roll, gyroXrate, dt); 				// Calculate the angle using a Kalman filter

    if (fabs(kalAngleX) > 90)
        gyroYrate = -gyroYrate; 										// Invert rate, so it fits the restricted accelerometer reading
    kalAngleY = getAngle(&kalmanY,pitch, gyroYrate, dt);

    #else
    // This fixes the transition problem when the accelerometer angle jumps between -180 and 180 degrees
    if ((pitch < -90 && kalAngleY > 90) || (pitch > 90 && kalAngleY < -90)) {
        kalmanY.setAngle(pitch);
        compAngleY = pitch;
        kalAngleY = pitch;
        gyroYangle = pitch;
    } else
    kalAngleY = getAngle(&kalmanY, pitch, gyroYrate, dt); // Calculate the angle using a Kalman filter

    if (abs(kalAngleY > 90)
        gyroXrate = -gyroXrate; // Invert rate, so it fits the restricted accelerometer reading
    kalAngleX = getAngle(&kalmanX, roll, gyroXrate, dt); // Calculate the angle using a Kalman filter
    #endif

    /* Estimate angles using gyro only */
//    gyroXangle += gyroXrate * dt;				 // Calculate gyro angle without any filter
//    gyroYangle += gyroYrate * dt;
//    gyroZangle += gyroZrate * dt;
//    gyroXangle += kalmanX.getRate() * dt;		 // Calculate gyro angle using the unbiased rate from the Kalman filter
//    gyroYangle += kalmanY.getRate() * dt;
//    gyroZangle += kalmanZ.getRate() * dt;

    /* Estimate angles using complimentary filter */
//    compAngleX = 0.93 * (compAngleX + gyroXrate * dt) + 0.07 * roll; 			// Calculate the angle using a Complimentary filter
//    compAngleY = 0.93 * (compAngleY + gyroYrate * dt) + 0.07 * pitch;
//    compAngleZ = 0.93 * (compAngleZ + gyroZrate * dt) + 0.07 * yaw;

    /* Reset the gyro angles when they has drifted too much*/
//    if (gyroXangle < -180 || gyroXangle > 180)
//        gyroXangle = kalAngleX;
//    if (gyroYangle < -180 || gyroYangle > 180)
//        gyroYangle = kalAngleY;
//    if (gyroZangle < -180 || gyroZangle > 180)
//        gyroZangle = kalAngleZ;

}

//=====================================================================================================================
// Joystick control On/Off
void HAL_GPIO_EXTI_Callback(uint16_t GPIO_Pin)
  {
	if(GPIO_Pin == GPIO_PIN_7)
		{
		cur_time = __HAL_TIM_GET_COUNTER(&htim2);
		if(cur_time - pre_time >= duration)
		{
			if(state == 0)
			{

				if(step_count_pitch_H > step_count_pitch_L)
				{
					for(int i = 0; i<step_count_pitch_H +10  ; i++)
						{
							stepper_step_angle(1, 0,13, GPIOB, GPIO_PIN_13, GPIO_PIN_14, GPIO_PIN_15, GPIO_PIN_1);
						}
				}
				else
				{
					for(int i = 0; i <step_count_pitch_L+10;i++)
					{
						stepper_step_angle(1, 1,13, GPIOB, GPIO_PIN_13, GPIO_PIN_14, GPIO_PIN_15, GPIO_PIN_1);
					}
				}

				if(step_count_roll_H > step_count_roll_L)
				{

					for(int i = 0; i<step_count_roll_H; i++)
					{
						stepper_step_angle(1, 0, 13, GPIOC, GPIO_PIN_0, GPIO_PIN_1, GPIO_PIN_2, GPIO_PIN_3);
					}
				}
				else
				{
					for(int i = 0 ; i<step_count_roll_L;i++)
					{
						stepper_step_angle(1, 1, 13, GPIOC, GPIO_PIN_0, GPIO_PIN_1, GPIO_PIN_2, GPIO_PIN_3);
					}

				}

				step_count_pitch_H = 0;
				step_count_pitch_L = 0;
				step_count_roll_H = 0;
				step_count_roll_L = 0;
				state = 1;
			}
			else if(state == 1)
			{

				if(kalAngleX > 0)
				{
					step_count_roll_H = kalAngleX;
				}
				else if(kalAngleX < 0)
				{
					step_count_roll_L = kalAngleX *(-1);
				}
				if(kalAngleY > 0)
				{
					step_count_pitch_H = kalAngleY;
				}
				else if(kalAngleY < 0)
				{
					step_count_pitch_L = kalAngleY * (-1);
				}
				state = 0;
			}

			__HAL_TIM_SET_COUNTER(&htim2, 0);
		}
	}
  }

//=====================================================================================================================
void HAL_TIM_PeriodElapsedCallback(TIM_HandleTypeDef *htim) // Kalman calc
{
	time_count++;
}
//=====================================================================================================================

/* USER CODE END 4 */

void Error_Handler(void)
{
  __disable_irq();
  while (1)
  {
  }
}
